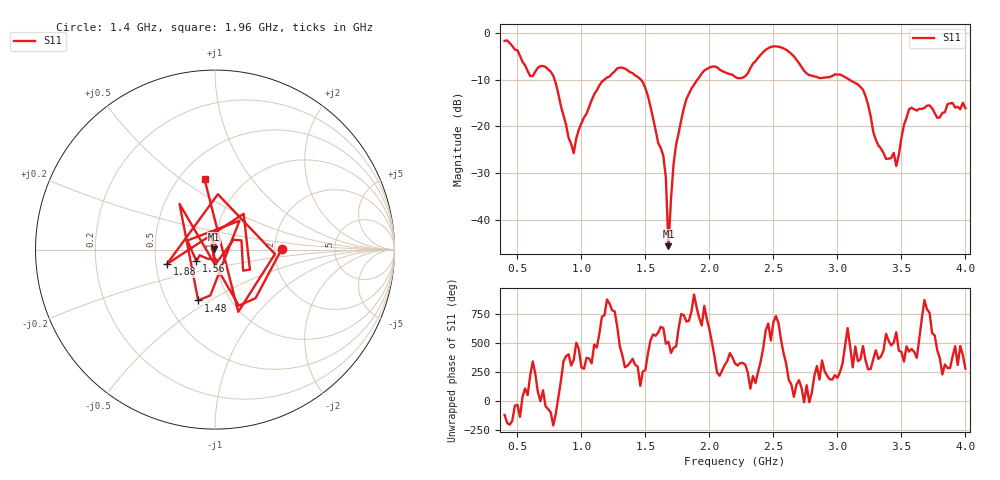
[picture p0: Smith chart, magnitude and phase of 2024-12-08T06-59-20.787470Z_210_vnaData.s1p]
!Created with skrf (http://scikit-rf.org).
# Hz S RI R 50.0
!freq ReS11 ImS11
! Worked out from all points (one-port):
!   181 points, 400 MHz to 4 GHz, reference 50 ohm
!   lowest |S11| = -45.7 dB at 1.68 GHz (marker M1), VSWR 1.01, Z = 49.6 + j0.27 ohm
!   |S11| at or under -10 dB: 790.7 MHz to 1.179 GHz (388.1 MHz wide, 39.4 % of centre); 1.465 GHz to 1.906 GHz (440.8 MHz wide, 26.2 % of centre); 3.094 GHz to end of sweep
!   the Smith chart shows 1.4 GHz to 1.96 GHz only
!   S11 on the Smith chart (normalised r, x): 1.4 GHz: 2.19, +0.03; 1.48 GHz: 0.71, -0.44; 1.56 GHz: 0.81, -0.11; 1.88 GHz: 0.57, -0.10; 1.96 GHz: 0.66, +0.62
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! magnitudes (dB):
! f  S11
! 400 MHz  -1.6
! 600 MHz  -9.2
! 760 MHz  -8.2
! 860 MHz  -17.7
! 940 MHz  -25.7
! 1.1 GHz  -13.1
! 1.3 GHz  -7.4
! 1.4 GHz  -8.6
! 1.48 GHz  -10.5
! 1.56 GHz  -18.3
! 1.64 GHz  -26.3
! 1.66 GHz  -31.1
! 1.68 GHz  -45.7
! 1.72 GHz  -28.1
! 1.76 GHz  -21.4
! 1.88 GHz  -11.1
! 1.96 GHz  -8.0
! 2.2 GHz  -9.4
! 2.48 GHz  -2.9
! 2.66 GHz  -5.0
! 2.78 GHz  -9.0
! 3.1 GHz  -10.1
! 3.2 GHz  -12.1
! 3.3 GHz  -22.9
! 3.44 GHz  -25.7
! 3.46 GHz  -28.5
! 3.56 GHz  -16.3
! 4 GHz  -16.1
